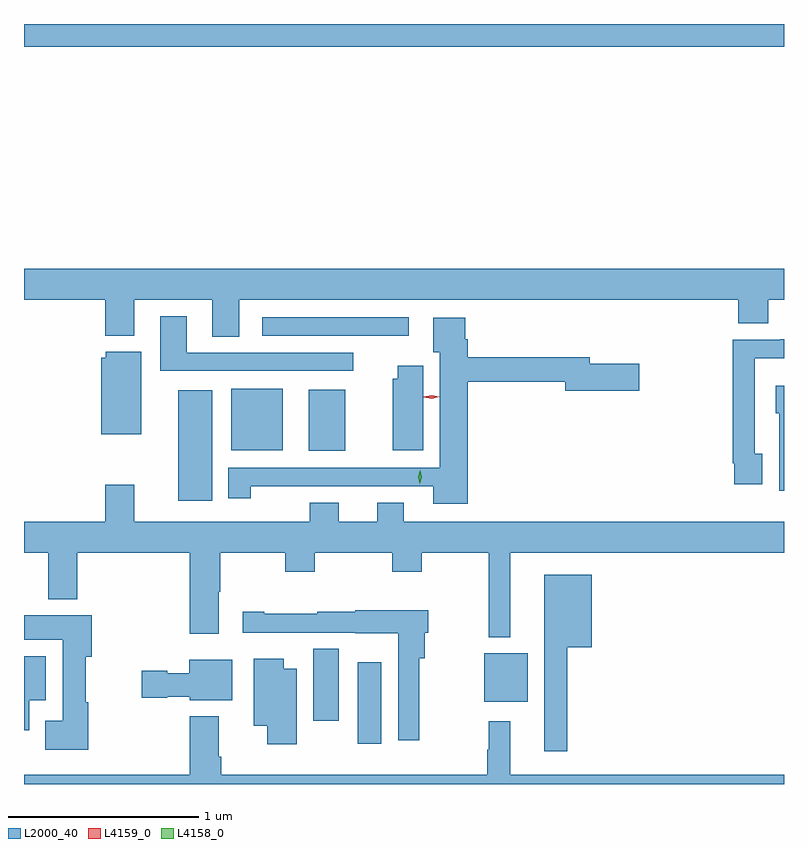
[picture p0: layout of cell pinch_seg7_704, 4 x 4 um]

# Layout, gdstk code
import gdstk
lib = gdstk.Library(unit=1e-6, precision=1e-09)
def R(c, l, rs):  # rectangles x0, y0, x1, y1
    for r in rs: c.add(gdstk.rectangle(r[:2], r[2:], *l))
def P(c, l, *ps):  # polygons
    for p in ps: c.add(gdstk.Polygon(p, *l))
L2000_40 = (2000, 40)
L4158_0 = (4158, 0)
L4159_0 = (4159, 0)

pinch_seg7_704 = lib.new_cell('pinch_seg7_704')
R(pinch_seg7_704, L2000_40, [(359.612,1035.576,359.734,1036.006), (359.378,1035.696,359.512,1036.076), (360.278,1035.797,360.505,1036.051), (358.667,1036.856,358.846,1037.437), (359.354,1037.117,359.545,1037.44), (358.946,1037.12,359.218,1037.443), (359.109,1037.724,359.881,1037.82), (357.855,1039.244,361.855,1039.364)])
P(pinch_seg7_704, L2000_40, [(358.987,1037.912),(361.613,1037.912),(361.613,1037.788),(361.773,1037.788),(361.773,1037.912),(361.855,1037.912),(361.855,1038.076),(357.855,1038.076),(357.855,1037.912),(358.283,1037.912),(358.283,1037.723),(358.435,1037.723),(358.435,1037.912),(358.847,1037.912),(358.847,1037.719),(358.987,1037.719)],
  [(359.587,1037.634),(358.711,1037.634),(358.711,1037.827),(358.571,1037.827),(358.571,1037.538),(359.587,1037.538)],
  [(360.191,1037.482),(360.704,1037.482),(360.704,1037.435),(361.093,1037.435),(361.093,1037.577),(360.832,1037.577),(360.832,1037.611),(360.191,1037.611),(360.191,1037.705),(360.178,1037.705),(360.178,1037.818),(360.008,1037.818),(360.008,1037.636),(360.044,1037.636),(360.044,1037.028),(358.931,1037.028),(358.931,1036.869),(359.049,1036.869),(359.049,1036.93),(359.276,1036.93),(359.276,1036.932),(360.008,1036.932),(360.008,1036.838),(360.191,1036.838)],
  [(361.741,1037.102),(361.701,1037.102),(361.701,1037.606),(361.855,1037.606),(361.855,1037.705),(361.835,1037.705),(361.835,1037.703),(361.585,1037.703),(361.585,1037.053),(361.593,1037.053),(361.593,1036.941),(361.741,1036.941)],
  [(358.471,1037.638),(358.284,1037.638),(358.284,1037.607),(358.262,1037.607),(358.262,1037.204),(358.471,1037.204)],
  [(359.956,1037.566),(359.822,1037.566),(359.822,1037.496),(359.795,1037.496),(359.795,1037.12),(359.956,1037.12)],
  [(361.855,1037.461),(361.811,1037.461),(361.811,1037.316),(361.829,1037.316),(361.829,1036.908),(361.855,1036.908)],
  [(360.415,1036.58),(361.855,1036.58),(361.855,1036.744),(359.854,1036.744),(359.854,1036.843),(359.714,1036.843),(359.714,1036.744),(359.512,1036.744),(359.512,1036.843),(359.36,1036.843),(359.36,1036.744),(358.435,1036.744),(358.435,1036.939),(358.283,1036.939),(358.283,1036.744),(357.855,1036.744),(357.855,1036.58),(357.983,1036.58),(357.983,1036.337),(358.136,1036.337),(358.136,1036.58),(358.727,1036.58),(358.727,1036.155),(358.879,1036.155),(358.879,1036.376),(358.887,1036.376),(358.887,1036.58),(359.23,1036.58),(359.23,1036.481),(359.385,1036.481),(359.385,1036.58),(359.794,1036.58),(359.794,1036.481),(359.949,1036.481),(359.949,1036.58),(360.301,1036.58),(360.301,1036.136),(360.415,1036.136)],
  [(360.715,1036.085),(360.844,1036.085),(360.844,1036.465),(360.593,1036.465),(360.593,1035.537),(360.715,1035.537)],
  [(359.935,1036.025),(359.964,1036.025),(359.964,1036.161),(359.982,1036.161),(359.982,1036.279),(359.598,1036.279),(359.598,1036.27),(359.398,1036.27),(359.398,1036.26),(359.119,1036.26),(359.119,1036.27),(359.007,1036.27),(359.007,1036.16),(359.282,1036.16),(359.282,1036.161),(359.598,1036.161),(359.598,1036.157),(359.826,1036.157),(359.826,1035.594),(359.935,1035.594)],
  [(358.193,1035.793),(358.18,1035.793),(358.18,1036.034),(358.211,1036.034),(358.211,1036.252),(357.855,1036.252),(357.855,1036.124),(358.058,1036.124),(358.058,1035.697),(357.968,1035.697),(357.968,1035.545),(358.193,1035.545)],
  [(357.883,1035.806),(357.97,1035.806),(357.97,1036.036),(357.855,1036.036),(357.855,1035.648),(357.883,1035.648)],
  [(359.29,1035.97),(359.221,1035.97),(359.221,1036.024),(359.063,1036.024),(359.063,1035.671),(359.135,1035.671),(359.135,1035.573),(359.29,1035.573)],
  [(358.951,1036.018),(358.724,1036.018),(358.724,1035.946),(358.608,1035.946),(358.608,1035.959),(358.476,1035.959),(358.476,1035.817),(358.608,1035.817),(358.608,1035.824),(358.728,1035.824),(358.728,1035.806),(358.951,1035.806)],
  [(361.855,1035.412),(360.415,1035.412),(360.415,1035.694),(360.301,1035.694),(360.301,1035.545),(360.294,1035.545),(360.294,1035.412),(358.892,1035.412),(358.892,1035.508),(358.879,1035.508),(358.879,1035.721),(358.727,1035.721),(358.727,1035.412),(357.855,1035.412),(357.855,1035.364),(361.855,1035.364)])
P(pinch_seg7_704, L4158_0, [(359.937,1036.944),(359.937,1036.944),(359.929,1036.98),(359.94,1037.016),(359.941,1037.016),(359.941,1037.016),(359.949,1036.979),(359.937,1036.944)])
P(pinch_seg7_704, L4159_0, [(360,1037.391),(359.959,1037.4),(359.959,1037.4),(359.959,1037.401),(360,1037.411),(360.04,1037.402),(360.041,1037.402),(360.04,1037.402)])

lib.write_gds('pinch_seg7_704.gds')
